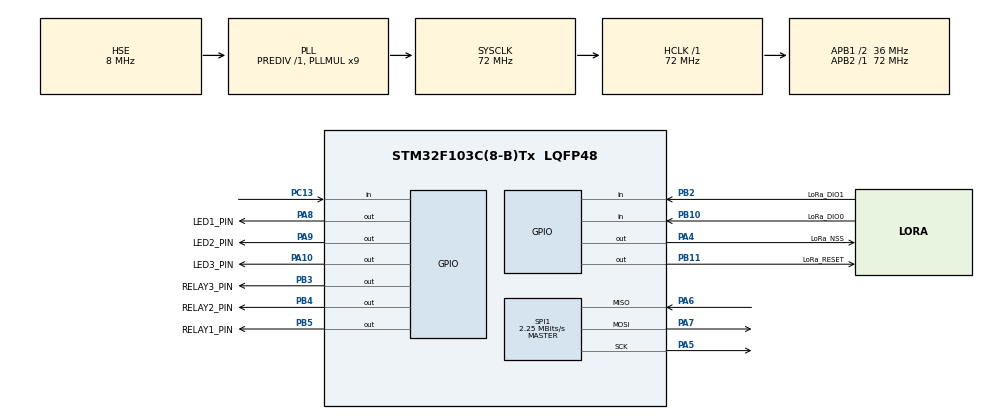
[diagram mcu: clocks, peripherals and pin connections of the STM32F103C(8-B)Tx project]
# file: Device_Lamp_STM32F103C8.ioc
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Mcu.Family=STM32F1
Mcu.Name=STM32F103C(8-B)Tx
Mcu.Package=LQFP48
NVIC.PriorityGroup=NVIC_PRIORITYGROUP_4
NVIC.RTC_Alarm_IRQn=true\:0\:0\:false\:false\:true\:true\:true
PA10.GPIO_Label=LED3_PIN
PA10.Signal=GPIO_Output
PA13.Mode=Serial_Wire
PA13.Signal=SYS_JTMS-SWDIO
PA14.Mode=Serial_Wire
PA14.Signal=SYS_JTCK-SWCLK
PA4.GPIO_Label=LoRa_NSS
PA4.Signal=GPIO_Output
PA5.Mode=Full_Duplex_Master
PA5.Signal=SPI1_SCK
PA6.Mode=Full_Duplex_Master
PA6.Signal=SPI1_MISO
PA7.Mode=Full_Duplex_Master
PA7.Signal=SPI1_MOSI
PA8.GPIO_Label=LED1_PIN
PA8.Signal=GPIO_Output
PA9.GPIO_Label=LED2_PIN
PA9.Signal=GPIO_Output
PB10.GPIO_Label=LoRa_DIO0
PB10.Signal=GPIO_Input
PB11.GPIO_Label=LoRa_RESET
PB11.Signal=GPIO_Output
PB2.GPIO_Label=LoRa_DIO1
PB2.Signal=GPIO_Input
PB3.GPIO_Label=RELAY3_PIN
PB3.Signal=GPIO_Output
PB4.GPIO_Label=RELAY2_PIN
PB4.Signal=GPIO_Output
PB5.GPIO_Label=RELAY1_PIN
PB5.Signal=GPIO_Output
PC13-TAMPER-RTC.Signal=GPIO_Input
PD0-OSC_IN.Mode=HSE-External-Oscillator
PD0-OSC_IN.Signal=RCC_OSC_IN
PD1-OSC_OUT.Mode=HSE-External-Oscillator
PD1-OSC_OUT.Signal=RCC_OSC_OUT
ProjectManager.HeapSize=0x200
ProjectManager.StackSize=0x400
ProjectManager.TargetToolchain=STM32CubeIDE
RCC.AHBFreq_Value=72000000
RCC.APB1CLKDivider=RCC_HCLK_DIV2
RCC.APB1Freq_Value=36000000
RCC.APB1TimFreq_Value=72000000
RCC.APB2Freq_Value=72000000
RCC.APB2TimFreq_Value=72000000
RCC.HCLKFreq_Value=72000000
RCC.PLLMUL=RCC_PLL_MUL9
RCC.PLLSourceVirtual=RCC_PLLSOURCE_HSE
RCC.RTCClockSelection=RCC_RTCCLKSOURCE_HSE_DIV128
RCC.SYSCLKFreq_VALUE=72000000
RCC.SYSCLKSource=RCC_SYSCLKSOURCE_PLLCLK
RCC.USBFreq_Value=72000000
RTC.Format=RTC_FORMAT_BIN
SPI1.BaudRatePrescaler=SPI_BAUDRATEPRESCALER_32
SPI1.CalculateBaudRate=2.25 MBits/s
SPI1.Direction=SPI_DIRECTION_2LINES
SPI1.Mode=SPI_MODE_MASTER
SPI1.VirtualType=VM_MASTER
VP_RTC_VS_RTC_Activate.Mode=RTC_Enabled
board=custom

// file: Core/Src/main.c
/* USER CODE BEGIN Header */
/**
  ******************************************************************************
  * @file           : main.c
  * @brief          : Main program body
  ******************************************************************************
  * @attention
  *
  * <h2><center>&copy; Copyright (c) 2020 STMicroelectronics.
  * All rights reserved.</center></h2>
  *
  * This software component is licensed by ST under BSD 3-Clause license,
  * the "License"; You may not use this file except in compliance with the
  * License. You may obtain a copy of the License at:
  *                        opensource.org/licenses/BSD-3-Clause
  *
  ******************************************************************************
  */
/* USER CODE END Header */
#include "main.h"

/* USER CODE BEGIN Includes */
#include <stdbool.h>
#include <Device_relay/Device_relay.h>
#include <Clock_channel/Clock_channel.h>
/* USER CODE END Includes */

RTC_HandleTypeDef hrtc;

SPI_HandleTypeDef hspi1;

/* USER CODE BEGIN PV */
RTC_TimeTypeDef next_time;
#define AMT_CHANNEL 3
struct clock_channel_t all_channel[AMT_CHANNEL];
struct clock_channel_t* channel1 = &all_channel[0];
struct clock_channel_t* channel2 = &all_channel[1];
struct clock_channel_t* channel3 = &all_channel[2];
RTC_TimeTypeDef time_channel1_inclusion = {.Hours=0, .Minutes=0, .Seconds=5};
RTC_TimeTypeDef time_channel1_shutdown = {.Hours=0, .Minutes=0, .Seconds=30};
//RTC_TimeTypeDef time_channel1_inclusion = {.Hours=7, .Minutes=0, .Seconds=0};
//RTC_TimeTypeDef time_channel1_shutdown = {.Hours=23, .Minutes=0, .Seconds=0};
RTC_TimeTypeDef time_channel2_inclusion = {.Hours=0, .Minutes=0, .Seconds=20};
RTC_TimeTypeDef time_channel2_shutdown = {.Hours=0, .Minutes=0, .Seconds=40};
RTC_TimeTypeDef time_channel3_inclusion = {.Hours=0, .Minutes=0, .Seconds=50};
RTC_TimeTypeDef time_channel3_shutdown = {.Hours=0, .Minutes=0, .Seconds=10};

RTC_TimeTypeDef time_synchronization = {.Hours=23, .Minutes=59, .Seconds=30};

struct relay_t relay[AMT_CHANNEL];
bool relay_invert[AMT_CHANNEL];

#if defined( DEBUG )
uint8_t hour=0, min=0, sec=0;
#endif

/* USER CODE END PV */

void SystemClock_Config(void);
static void MX_GPIO_Init(void);
static void MX_RTC_Init(void);
static void MX_SPI1_Init(void);

/* USER CODE BEGIN 0 */
void alarm_rtc();
/* USER CODE END 0 */

int main(void)
{
	/* USER CODE BEGIN 1 */
	relay_invert[0] = relay_invert[1] = relay_invert[2] = false;
#if defined( DEBUG )
	RTC_TimeTypeDef time;
	HAL_StatusTypeDef res_t;
#endif
	/* USER CODE END 1 */

	/* MCU Configuration--------------------------------------------------------*/

	/* Reset of all peripherals, Initializes the Flash interface and the Systick. */
	HAL_Init();

	/* Configure the system clock */
	SystemClock_Config();

	/* Initialize all configured peripherals */
	MX_GPIO_Init();
	MX_RTC_Init();
	MX_SPI1_Init();
	/* USER CODE BEGIN 2 */
	relay[0] = relay_init(RELAY1_PIN_GPIO_Port, RELAY1_PIN_Pin, relay_invert[0]);
	relay[1] = relay_init(RELAY2_PIN_GPIO_Port, RELAY2_PIN_Pin, relay_invert[1]);
	relay[2] = relay_init(RELAY3_PIN_GPIO_Port, RELAY3_PIN_Pin, relay_invert[2]);
    *channel1 = clock_channel_init(&relay[0], time_channel1_inclusion, time_channel1_shutdown);
    *channel2 = clock_channel_init(&relay[1], time_channel2_inclusion, time_channel2_shutdown);
    *channel3 = clock_channel_init(&relay[2], time_channel3_inclusion, time_channel3_shutdown);
    channel1->deviation_sec = 2;
    channel2->deviation_sec = 2;
    channel3->deviation_sec = 2;

	// (!) ----- в LoRa
	RTC_TimeTypeDef null_time = {.Hours=0, .Minutes=0, .Seconds=0};
	HAL_RTC_SetTime(&hrtc, &null_time, RTC_FORMAT_BIN);
	alarm_rtc();
	// -!- -----

	/* USER CODE END 2 */

	/* Infinite loop */
	/* USER CODE BEGIN WHILE */
    while (1)
    {
#if defined( DEBUG )
        res_t = HAL_RTC_GetTime(&hrtc, &time, RTC_FORMAT_BIN);
        if(res_t == HAL_OK) {
            hour = time.Hours;
            min = time.Minutes;
            sec = time.Seconds;
        }
        HAL_Delay(1);
#endif
		/* USER CODE END WHILE */

    }
}

void SystemClock_Config(void)
{
	RCC_OscInitTypeDef RCC_OscInitStruct = {0};
	RCC_ClkInitTypeDef RCC_ClkInitStruct = {0};
	RCC_PeriphCLKInitTypeDef PeriphClkInit = {0};

	/** Initializes the RCC Oscillators according to the specified parameters
	* in the RCC_OscInitTypeDef structure.
	*/
	RCC_OscInitStruct.OscillatorType = RCC_OSCILLATORTYPE_HSE;
	RCC_OscInitStruct.HSEState = RCC_HSE_ON;
	RCC_OscInitStruct.HSEPredivValue = RCC_HSE_PREDIV_DIV1;
	RCC_OscInitStruct.HSIState = RCC_HSI_ON;
	RCC_OscInitStruct.PLL.PLLState = RCC_PLL_ON;
	RCC_OscInitStruct.PLL.PLLSource = RCC_PLLSOURCE_HSE;
	RCC_OscInitStruct.PLL.PLLMUL = RCC_PLL_MUL9;
	if (HAL_RCC_OscConfig(&RCC_OscInitStruct) != HAL_OK)
	{
		Error_Handler();
	}
	/** Initializes the CPU, AHB and APB buses clocks
	*/
	RCC_ClkInitStruct.ClockType = RCC_CLOCKTYPE_HCLK|RCC_CLOCKTYPE_SYSCLK
							  |RCC_CLOCKTYPE_PCLK1|RCC_CLOCKTYPE_PCLK2;
	RCC_ClkInitStruct.SYSCLKSource = RCC_SYSCLKSOURCE_PLLCLK;
	RCC_ClkInitStruct.AHBCLKDivider = RCC_SYSCLK_DIV1;
	RCC_ClkInitStruct.APB1CLKDivider = RCC_HCLK_DIV2;
	RCC_ClkInitStruct.APB2CLKDivider = RCC_HCLK_DIV1;

	if (HAL_RCC_ClockConfig(&RCC_ClkInitStruct, FLASH_LATENCY_2) != HAL_OK)
	{
		Error_Handler();
	}
	PeriphClkInit.PeriphClockSelection = RCC_PERIPHCLK_RTC;
	PeriphClkInit.RTCClockSelection = RCC_RTCCLKSOURCE_HSE_DIV128;
	if (HAL_RCCEx_PeriphCLKConfig(&PeriphClkInit) != HAL_OK)
	{
		Error_Handler();
	}
}

static void MX_RTC_Init(void)
{

	/** Initialize RTC Only
	*/
	hrtc.Instance = RTC;
	hrtc.Init.AsynchPrediv = RTC_AUTO_1_SECOND;
	hrtc.Init.OutPut = RTC_OUTPUTSOURCE_ALARM;
	if (HAL_RTC_Init(&hrtc) != HAL_OK)
	{
		Error_Handler();
	}
}

static void MX_SPI1_Init(void)
{

	/* SPI1 parameter configuration*/
	hspi1.Instance = SPI1;
	hspi1.Init.Mode = SPI_MODE_MASTER;
	hspi1.Init.Direction = SPI_DIRECTION_2LINES;
	hspi1.Init.DataSize = SPI_DATASIZE_8BIT;
	hspi1.Init.CLKPolarity = SPI_POLARITY_LOW;
	hspi1.Init.CLKPhase = SPI_PHASE_1EDGE;
	hspi1.Init.NSS = SPI_NSS_SOFT;
	hspi1.Init.BaudRatePrescaler = SPI_BAUDRATEPRESCALER_32;
	hspi1.Init.FirstBit = SPI_FIRSTBIT_MSB;
	hspi1.Init.TIMode = SPI_TIMODE_DISABLE;
	hspi1.Init.CRCCalculation = SPI_CRCCALCULATION_DISABLE;
	hspi1.Init.CRCPolynomial = 10;
	if (HAL_SPI_Init(&hspi1) != HAL_OK)
	{
		Error_Handler();
	}
}

static void MX_GPIO_Init(void)
{
	GPIO_InitTypeDef GPIO_InitStruct = {0};

	/* GPIO Ports Clock Enable */
	__HAL_RCC_GPIOC_CLK_ENABLE();
	__HAL_RCC_GPIOD_CLK_ENABLE();
	__HAL_RCC_GPIOA_CLK_ENABLE();
	__HAL_RCC_GPIOB_CLK_ENABLE();

	/*Configure GPIO pin Output Level */
	HAL_GPIO_WritePin(GPIOA, LoRa_NSS_Pin|LED1_PIN_Pin|LED2_PIN_Pin|LED3_PIN_Pin, GPIO_PIN_RESET);

	/*Configure GPIO pin Output Level */
	HAL_GPIO_WritePin(GPIOB, LoRa_RESET_Pin|RELAY3_PIN_Pin|RELAY2_PIN_Pin|RELAY1_PIN_Pin, GPIO_PIN_RESET);

	/*Configure GPIO pin : PC13 */
	GPIO_InitStruct.Pin = GPIO_PIN_13;
	GPIO_InitStruct.Mode = GPIO_MODE_INPUT;
	GPIO_InitStruct.Pull = GPIO_NOPULL;
	HAL_GPIO_Init(GPIOC, &GPIO_InitStruct);

	/*Configure GPIO pins : LoRa_NSS_Pin LED1_PIN_Pin LED2_PIN_Pin LED3_PIN_Pin */
	GPIO_InitStruct.Pin = LoRa_NSS_Pin|LED1_PIN_Pin|LED2_PIN_Pin|LED3_PIN_Pin;
	GPIO_InitStruct.Mode = GPIO_MODE_OUTPUT_PP;
	GPIO_InitStruct.Pull = GPIO_NOPULL;
	GPIO_InitStruct.Speed = GPIO_SPEED_FREQ_LOW;
	HAL_GPIO_Init(GPIOA, &GPIO_InitStruct);

	/*Configure GPIO pins : LoRa_DIO1_Pin LoRa_DIO0_Pin */
	GPIO_InitStruct.Pin = LoRa_DIO1_Pin|LoRa_DIO0_Pin;
	GPIO_InitStruct.Mode = GPIO_MODE_INPUT;
	GPIO_InitStruct.Pull = GPIO_NOPULL;
	HAL_GPIO_Init(GPIOB, &GPIO_InitStruct);

	/*Configure GPIO pins : LoRa_RESET_Pin RELAY3_PIN_Pin RELAY2_PIN_Pin RELAY1_PIN_Pin */
	GPIO_InitStruct.Pin = LoRa_RESET_Pin|RELAY3_PIN_Pin|RELAY2_PIN_Pin|RELAY1_PIN_Pin;
	GPIO_InitStruct.Mode = GPIO_MODE_OUTPUT_PP;
	GPIO_InitStruct.Pull = GPIO_NOPULL;
	GPIO_InitStruct.Speed = GPIO_SPEED_FREQ_LOW;
	HAL_GPIO_Init(GPIOB, &GPIO_InitStruct);
}

/* USER CODE BEGIN 4 */
void alarm_rtc() {
	RTC_AlarmTypeDef alarm = {.Alarm=1};
	alarm.AlarmTime = find_alarm_clock(all_channel, AMT_CHANNEL);
	for(int i = 0; i < AMT_CHANNEL; ++i)
		check_state_by_RTC(&all_channel[i]);
	HAL_RTC_SetAlarm(&hrtc, &alarm, RTC_FORMAT_BIN);
	HAL_RTC_SetAlarm_IT(&hrtc, &alarm, RTC_FORMAT_BIN);
#if defined(DEBUG)
	next_time = alarm.AlarmTime;
#endif
}
/* USER CODE END 4 */

void Error_Handler(void)
{
}

/************************ (C) COPYRIGHT STMicroelectronics *****END OF FILE****/
